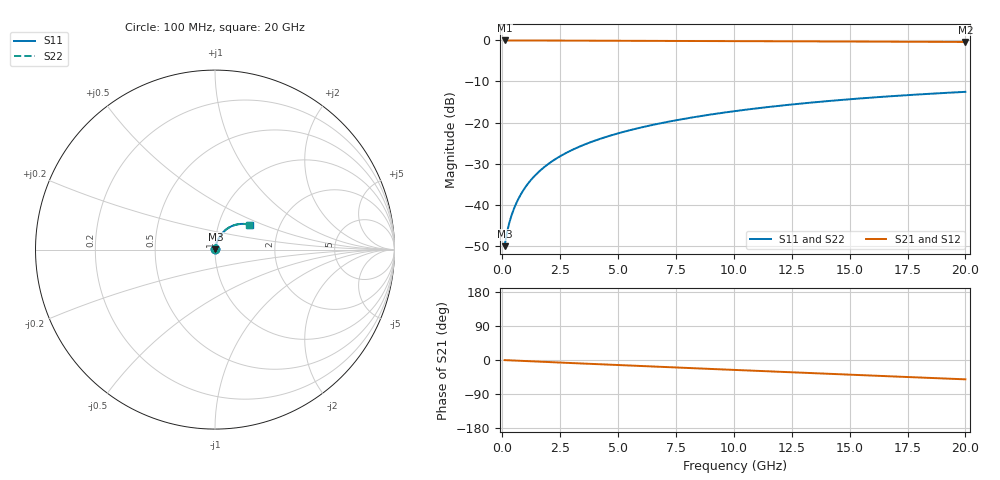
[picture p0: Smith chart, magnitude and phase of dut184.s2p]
! Touchstone file exported from HFSS 2026.1.0
!  File:  C:/ffzhzh/LocalFiles/Ansys_Project_Files/temp_train_TMRDL_184_1782983696_42984.aedt
!  Generated:  05:16:15 PM Jul  2, 2026
!  Design:  TMRDL
!  Project:  temp_train_TMRDL_184_1782983696_42984
! Variables:
!  h_bsmrdl = 2um
!  h_ox = 20um
!  h_rdl = 5um
!  h_sub = 80um
!  h_tmrdl = 5.89um
!  h_tsv = 80um
!  h_via = 3um
!  l_bsmrdl = 300um
!  l_sub = 1279.39um
!  l_tmrdl = 879.39um
!  m_sub = 200um
!  pitch = 37.61um
!  r_tsv = 6um
!  s_tmrdl = 10um
!  w_bsmrdl = 18um
!  w_sub = 500um
!  w_tmrdl = 24.23um
!  x_tsv_center1 = 891.505um
!  x_tsv_center2 = 1209.505um
!  x_tsv_center3 = 2113.125um
!  x_tsv_center4 = 2431.125um
!  x_tsv_center5 = 3334.745um
!  x_tsv_center6 = 3652.745um
# GHz S MA R 50.000000
! Terminal data exported
! Port[1] = TM_RDL1_1_T1
! Port[2] = TM_RDL1_1_T2
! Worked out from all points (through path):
!   200 points, 100 MHz to 20 GHz, reference 50 ohm
!   highest |S21| = -0.02 dB at 100 MHz (marker M1); lowest = -0.4 dB at 20 GHz (marker M2)
!   group delay of S21, straight-line fit = 7.07 ps
!   lowest |S11| = -50.1 dB at 100 MHz (marker M3), VSWR 1.01, Z = 50.2 + j0.196 ohm
!   |S11| at or under -10 dB: start of sweep to end of sweep
!   |S22| runs from -50.1 to -12.5 dB; largest |S21 - S12| = 3.1e-14
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0.1  0.003143 38.4  0.9975 -0.3  0.9975 -0.3  0.003143 38.4
! Gamma 0 0 0 0
! Port Impedance 50 0 50 0
0.2  0.004584 52.7  0.9973 -0.6  0.9973 -0.6  0.004584 52.7
0.3  0.006019 59.8  0.9971 -0.8  0.9971 -0.8  0.006018 59.8
0.4  0.007453 64.3  0.9969 -1.1  0.9969 -1.1  0.007453 64.3
0.5  0.008909 67.6  0.9968 -1.4  0.9968 -1.4  0.008908 67.6
0.6  0.01039 69.9  0.9967 -1.7  0.9967 -1.7  0.01039 69.9
0.8  0.0134 72.9  0.9965 -2.2  0.9965 -2.2  0.0134 72.9
1.1  0.01797 75.1  0.9962 -3.0  0.9962 -3.0  0.01797 75.1
1.3  0.02102 75.8  0.996 -3.5  0.996 -3.5  0.02102 75.8
1.6  0.02559 76.3  0.9956 -4.3  0.9956 -4.3  0.02559 76.3
2.1  0.03311 76.1  0.9947 -5.7  0.9947 -5.7  0.03311 76.1
2.7  0.04194 75.2  0.9937 -7.3  0.9937 -7.3  0.04194 75.2
3.5  0.05338 73.7  0.9921 -9.4  0.9921 -9.4  0.05338 73.7
4.2  0.06313 72.2  0.9908 -11.2  0.9908 -11.2  0.06313 72.2
5  0.07402 70.5  0.9893 -13.3  0.9893 -13.3  0.07402 70.5
5.9  0.086 68.5  0.9875 -15.6  0.9875 -15.6  0.086 68.5
6.8  0.09773 66.5  0.9857 -17.9  0.9857 -17.9  0.09773 66.5
8.3  0.1167 63.1  0.9827 -21.8  0.9827 -21.8  0.1167 63.1
10.1  0.1386 58.9  0.9789 -26.4  0.9789 -26.4  0.1386 59.0
13.4  0.1758 51.2  0.9715 -34.7  0.9715 -34.7  0.1758 51.2
16.7  0.2086 43.4  0.964 -42.9  0.964 -42.9  0.2086 43.4
20  0.2366 35.6  0.9567 -51.0  0.9567 -51.0  0.2366 35.7
